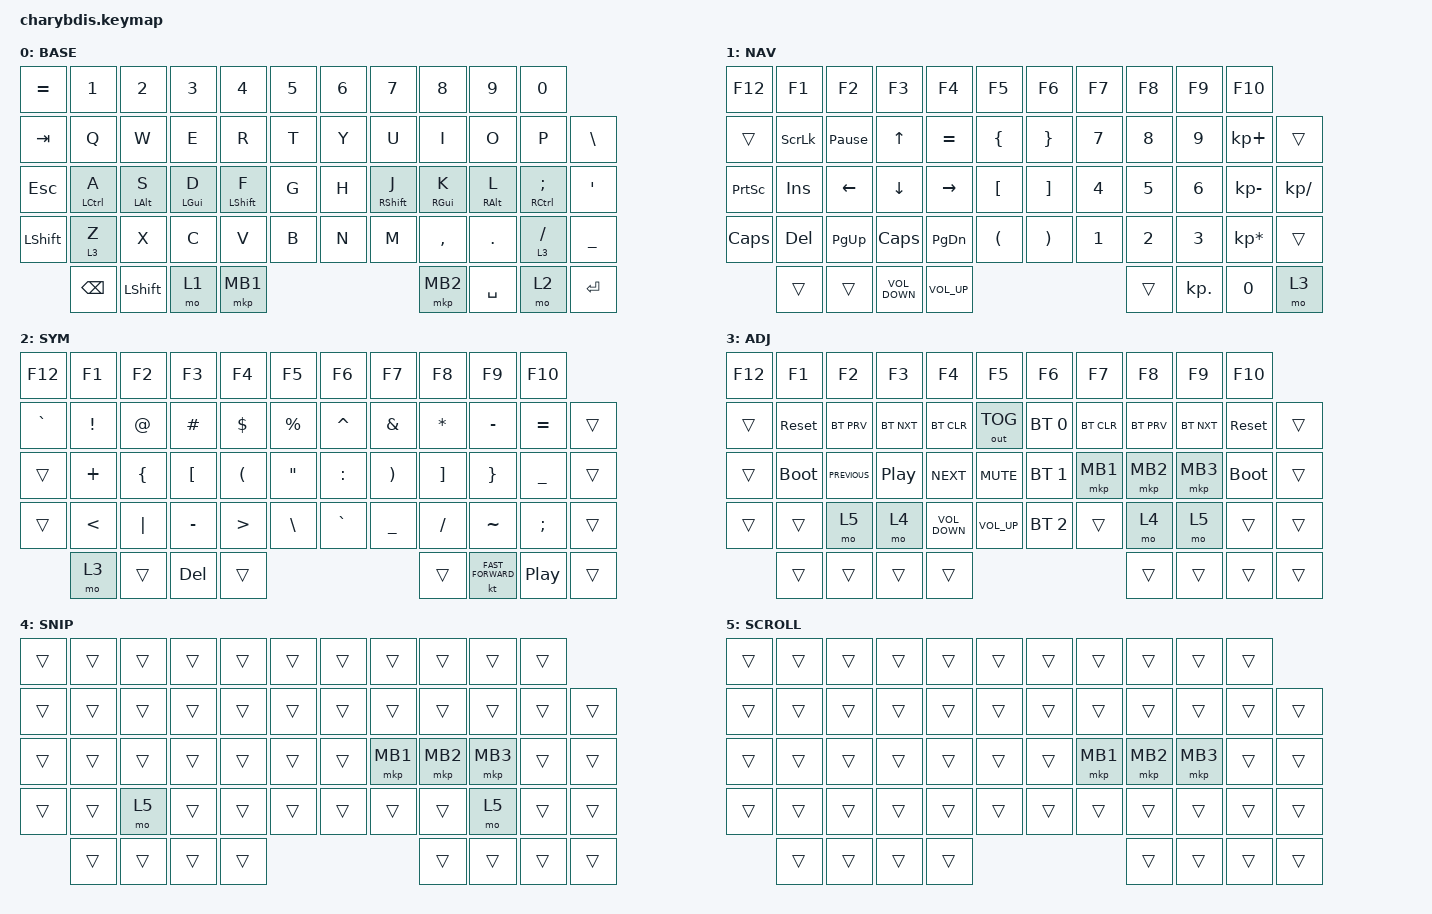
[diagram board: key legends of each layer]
#include <dt-bindings/zmk/mouse.h>
#include <behaviors/mouse_keys.dtsi>
#include <behaviors.dtsi>
#include <dt-bindings/zmk/bt.h>
#include <dt-bindings/zmk/keys.h>
#include <dt-bindings/zmk/outputs.h>
#include <dt-bindings/zmk/pointing.h>

#include <dt-bindings/zmk/input_transform.h>
#include <input/processors.dtsi>

/ {
    chosen { zmk,matrix_transform = &default_transform; };
};

&mt {
    quick-tap-ms = <200>;
    flavor = "tap-preferred";
    tapping-term-ms = <170>;
};

&lt {
    quick-tap-ms = <200>;
    flavor = "tap-preferred";
    tapping-term-ms = <170>;
};

/ {
    combos {
        compatible = "zmk,combos";

        combo_esc {
            timeout-ms = <50>;
            key-positions = <0 1>;
            bindings = <&kp ESC>;
        };
    };

    keymap {
        compatible = "zmk,keymap";

        BASE {
            bindings = <
&kp EQUAL   &kp N1       &kp N2      &kp N3         &kp N4          &kp N5               &kp N6 &kp N7        &kp N8      &kp N9      &kp N0          
&kp TAB     &kp Q        &kp W       &kp E          &kp R           &kp T                &kp Y  &kp U         &kp I       &kp O       &kp P           &kp BACKSLASH
&kp ESC     &mt LCTRL A  &mt LALT S  &mt LGUI D     &mt LSHIFT F    &kp G                &kp H  &mt RSHIFT J  &mt RGUI K  &mt RALT L  &mt RCTRL SEMI  &kp APOS
&kp LSHIFT  &lt 3 Z      &kp X       &kp C          &kp V           &kp B                &kp N  &kp M         &kp COMMA   &kp DOT     &lt 3 SLASH     &kp UNDER
          &kp BACKSPACE  &kp LSHIFT  &mo 1          &mkp MB1        &mkp MB2                                              &kp SPACE       &mo 2       &kp ENTER

            >;
        };

        NAV {
            bindings = <
&kp F12          &kp F1          &kp F2           &kp F3             &kp F4           &kp F5    &kp F6                &kp F7  &kp F8  &kp F9  &kp F10          
&trans           &kp SCROLLLOCK  &kp PAUSE_BREAK  &kp UP             &kp EQUAL        &kp LBRC              &kp RBRC  &kp N7  &kp N8  &kp N9  &kp KP_PLUS      &trans
&kp PRINTSCREEN  &kp INSERT      &kp LEFT         &kp DOWN           &kp RIGHT        &kp LBKT              &kp RBKT  &kp N4  &kp N5  &kp N6  &kp KP_MINUS     &kp KP_DIVIDE
&kp CLCK         &kp DEL         &kp PG_UP        &kp CAPS           &kp PG_DN        &kp LPAR              &kp RPAR  &kp N1  &kp N2  &kp N3  &kp KP_MULTIPLY  &trans
                 &trans          &trans           &kp C_VOLUME_DOWN  &kp C_VOLUME_UP  &trans    &kp KP_DOT            &kp N0          &mo 3
            >;
        };

        SYM {
            bindings = <
&kp F12    &kp F1         &kp F2          &kp F3            &kp F4                &kp F5         &kp F6                         &kp F7                 &kp F8     &kp F9           &kp F10        
&kp GRAVE  &kp EXCL       &kp AT          &kp HASH          &kp DLLR              &kp PRCNT                          &kp CARET  &kp AMPS               &kp STAR   &kp MINUS        &kp EQUAL      &trans
&trans     &kp PLUS       &kp LEFT_BRACE  &kp LEFT_BRACKET  &kp LEFT_PARENTHESIS  &kp DQT                            &kp COLON  &kp RIGHT_PARENTHESIS  &kp RBKT   &kp RIGHT_BRACE  &kp UNDER      &trans
&trans     &kp LESS_THAN  &kp PIPE        &kp MINUS         &kp GREATER_THAN      &kp BACKSLASH                      &kp GRAVE  &kp UNDERSCORE         &kp SLASH  &kp TILDE        &kp SEMICOLON  &trans
           &mo 3          &trans          &kp DELETE        &trans                &trans         &kt C_FAST_FORWARD             &kp C_PLAY_PAUSE                  &trans
            >;
        };

        ADJ {
            bindings = <
&kp F12  &kp F1       &kp F2          &kp F3            &kp F4             &kp F5           &kp F6                &kp F7      &kp F8      &kp F9      &kp F10      
&trans   &sys_reset   &bt BT_PRV      &bt BT_NXT        &bt BT_CLR         &out OUT_TOG             &bt BT_SEL 0  &bt BT_CLR  &bt BT_PRV  &bt BT_NXT  &sys_reset   &trans
&trans   &bootloader  &kp C_PREVIOUS  &kp C_PLAY_PAUSE  &kp C_NEXT         &kp C_MUTE               &bt BT_SEL 1  &mkp MB1    &mkp MB2    &mkp MB3    &bootloader  &trans
&trans   &trans       &mo 5           &mo 4             &kp C_VOLUME_DOWN  &kp C_VOLUME_UP          &bt BT_SEL 2  &trans      &mo 4       &mo 5       &trans       &trans
         &trans       &trans          &trans            &trans             &trans           &trans                &trans                  &trans
            >;
        };

        SNIP {
            bindings = <
&trans  &trans  &trans  &trans  &trans  &trans  &trans          &trans    &trans    &trans    &trans  
&trans  &trans  &trans  &trans  &trans  &trans          &trans  &trans    &trans    &trans    &trans  &trans
&trans  &trans  &trans  &trans  &trans  &trans          &trans  &mkp MB1  &mkp MB2  &mkp MB3  &trans  &trans
&trans  &trans  &mo 5   &trans  &trans  &trans          &trans  &trans    &trans    &mo 5     &trans  &trans
        &trans  &trans  &trans  &trans  &trans  &trans          &trans              &trans
            >;
        };

        SCROLL {
            bindings = <
&trans  &trans  &trans  &trans  &trans  &trans  &trans          &trans    &trans    &trans    &trans  
&trans  &trans  &trans  &trans  &trans  &trans          &trans  &trans    &trans    &trans    &trans  &trans
&trans  &trans  &trans  &trans  &trans  &trans          &trans  &mkp MB1  &mkp MB2  &mkp MB3  &trans  &trans
&trans  &trans  &trans  &trans  &trans  &trans          &trans  &trans    &trans    &trans    &trans  &trans
        &trans  &trans  &trans  &trans  &trans  &trans          &trans              &trans
            >;
        };
    };
};
